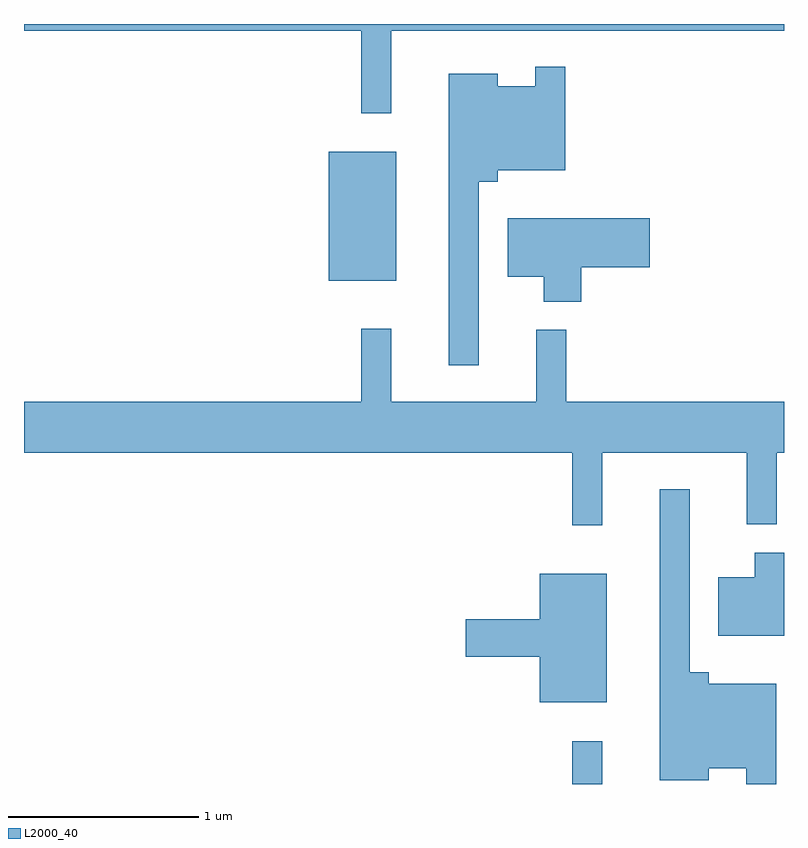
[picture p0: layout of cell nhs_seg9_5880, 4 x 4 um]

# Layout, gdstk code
import gdstk
lib = gdstk.Library(unit=1e-6, precision=1e-09)
def R(c, l, rs):  # rectangles x0, y0, x1, y1
    for r in rs: c.add(gdstk.rectangle(r[:2], r[2:], *l))
def P(c, l, *ps):  # polygons
    for p in ps: c.add(gdstk.Polygon(p, *l))
L2000_40 = (2000, 40)

nhs_seg9_5880 = lib.new_cell('nhs_seg9_5880')
R(nhs_seg9_5880, L2000_40, [(360.496,2074.432,360.654,2074.658), (359.216,2077.081,359.569,2077.759)])
P(nhs_seg9_5880, L2000_40, [(359.544,2078.396),(361.611,2078.396),(361.611,2078.432),(357.611,2078.432),(357.611,2078.396),(359.386,2078.396),(359.386,2077.963),(359.544,2077.963)],
  [(360.004,2077.601),(360.104,2077.601),(360.104,2077.661),(360.459,2077.661),(360.459,2078.208),(360.301,2078.208),(360.301,2078.104),(360.104,2078.104),(360.104,2078.169),(359.846,2078.169),(359.846,2076.637),(360.004,2076.637)],
  [(360.544,2077.151),(360.904,2077.151),(360.904,2077.409),(360.156,2077.409),(360.156,2077.101),(360.346,2077.101),(360.346,2076.971),(360.544,2076.971)],
  [(360.654,2076.176),(361.416,2076.176),(361.416,2075.798),(361.574,2075.798),(361.574,2076.176),(361.611,2076.176),(361.611,2076.444),(360.464,2076.444),(360.464,2076.823),(360.306,2076.823),(360.306,2076.444),(359.544,2076.444),(359.544,2076.827),(359.386,2076.827),(359.386,2076.444),(357.611,2076.444),(357.611,2076.176),(360.496,2076.176),(360.496,2075.793),(360.654,2075.793)],
  [(361.569,2074.959),(361.214,2074.959),(361.214,2075.019),(361.114,2075.019),(361.114,2075.983),(360.956,2075.983),(360.956,2074.451),(361.214,2074.451),(361.214,2074.516),(361.411,2074.516),(361.411,2074.432),(361.569,2074.432)],
  [(361.611,2075.649),(361.456,2075.649),(361.456,2075.519),(361.266,2075.519),(361.266,2075.211),(361.611,2075.211)],
  [(360.679,2075.539),(360.326,2075.539),(360.326,2075.299),(359.936,2075.299),(359.936,2075.101),(360.326,2075.101),(360.326,2074.861),(360.679,2074.861)])

lib.write_gds('nhs_seg9_5880.gds')
